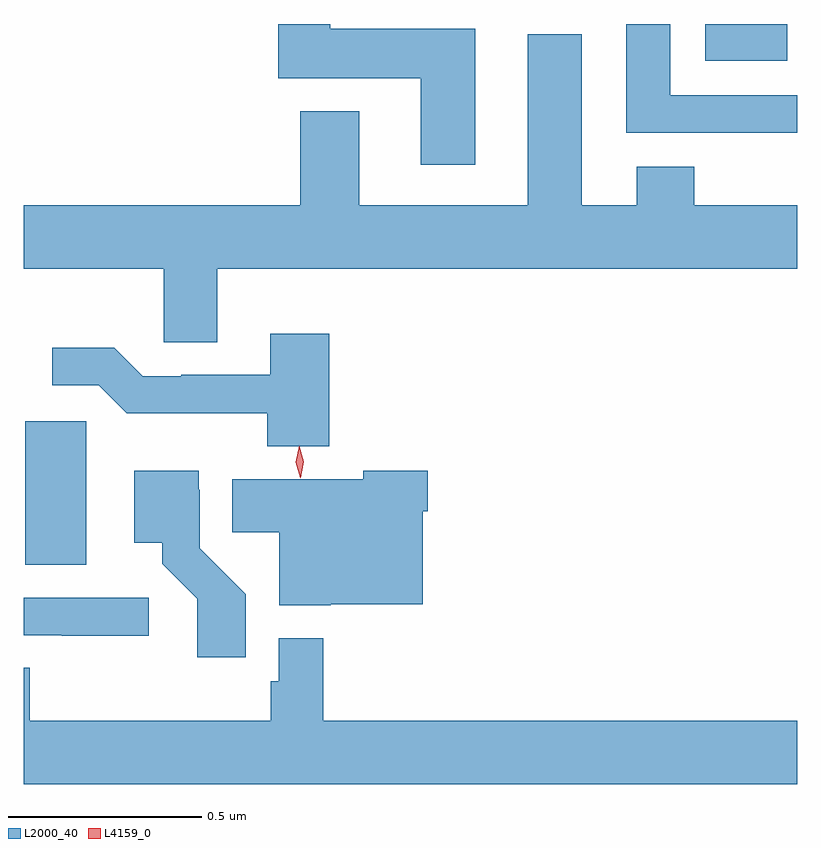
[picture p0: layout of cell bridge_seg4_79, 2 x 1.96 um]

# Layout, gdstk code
import gdstk
lib = gdstk.Library(unit=1e-6, precision=1e-09)
def R(c, l, rs):  # rectangles x0, y0, x1, y1
    for r in rs: c.add(gdstk.rectangle(r[:2], r[2:], *l))
def P(c, l, *ps):  # polygons
    for p in ps: c.add(gdstk.Polygon(p, *l))
L2000_40 = (2000, 40)
L4159_0 = (4159, 0)

bridge_seg4_79 = lib.new_cell('bridge_seg4_79')
R(bridge_seg4_79, L2000_40, [(459.068,820.03,459.226,820.401), (460.826,821.333,461.038,821.428)])
P(bridge_seg4_79, L2000_40, [(461.064,821.244),(460.735,821.244),(460.735,821.428),(460.622,821.428),(460.622,821.147),(461.064,821.147)],
  [(460.231,821.416),(459.856,821.416),(459.856,821.428),(459.722,821.428),(459.722,821.288),(460.091,821.288),(460.091,821.064),(460.231,821.064)],
  [(459.565,820.796),(461.064,820.796),(461.064,820.96),(460.797,820.96),(460.797,821.059),(460.649,821.059),(460.649,820.96),(460.507,820.96),(460.507,821.401),(460.367,821.401),(460.367,820.96),(459.931,820.96),(459.931,821.203),(459.779,821.203),(459.779,820.96),(459.064,820.96),(459.064,820.796),(459.426,820.796),(459.426,820.606),(459.565,820.606)],
  [(459.854,820.627),(459.701,820.627),(459.701,820.521),(459.472,820.521),(459.472,820.518),(459.372,820.518),(459.299,820.591),(459.138,820.591),(459.138,820.494),(459.258,820.494),(459.331,820.422),(459.694,820.422),(459.694,820.337),(459.854,820.337)],
  [(459.858,819.929),(460.096,819.929),(460.096,820.169),(460.109,820.169),(460.109,820.273),(459.942,820.273),(459.942,820.252),(459.604,820.252),(459.604,820.114),(459.725,820.114),(459.725,819.926),(459.858,819.926)],
  [(459.638,819.954),(459.519,820.073),(459.519,820.224),(459.517,820.224),(459.517,820.273),(459.35,820.273),(459.35,820.088),(459.422,820.088),(459.422,820.033),(459.513,819.943),(459.513,819.792),(459.638,819.792)],
  [(459.388,819.945),(459.064,819.945),(459.064,819.849),(459.163,819.849),(459.163,819.847),(459.388,819.847)],
  [(461.064,819.628),(459.839,819.628),(459.839,819.841),(459.723,819.841),(459.723,819.729),(459.703,819.729),(459.703,819.628),(459.08,819.628),(459.08,819.764),(459.064,819.764),(459.064,819.464),(461.064,819.464)])
P(bridge_seg4_79, L4159_0, [(459.78,820.255),(459.779,820.256),(459.768,820.296),(459.777,820.338),(459.777,820.338),(459.777,820.338),(459.788,820.297),(459.78,820.256)])

lib.write_gds('bridge_seg4_79.gds')
